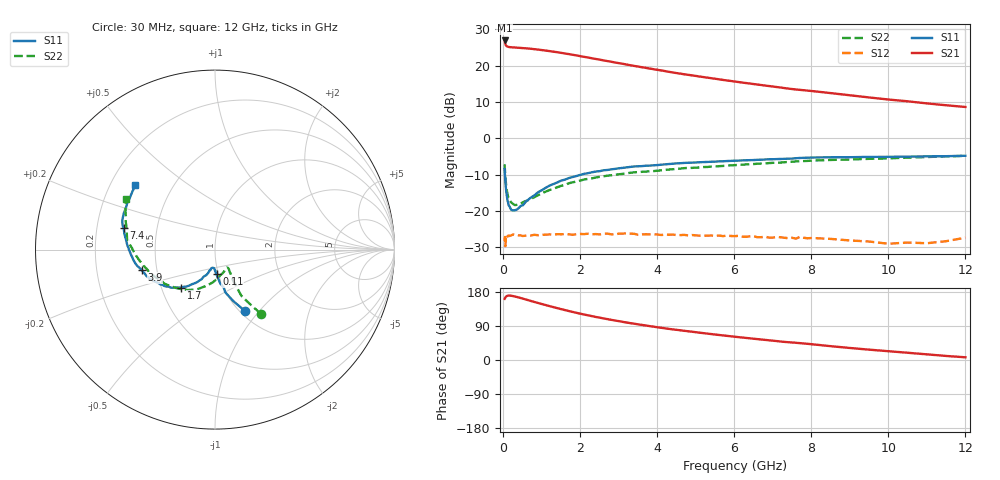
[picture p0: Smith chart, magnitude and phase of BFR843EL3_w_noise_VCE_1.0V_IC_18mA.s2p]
! Infineon Technologies  Discrete & RF Semiconductors
! BFR843EL3
! VCE =  1.0 V,  IC =  18 mA
! Common Emitter S-Parameters:  Aug 2013
# GHz  S  MA  R  50
!  f  S11  S21  S12  S22
! GHz  MAG  ANG  MAG  ANG  MAG  ANG  MAG  ANG
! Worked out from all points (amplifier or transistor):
!   103 points, 30 MHz to 12 GHz, reference 50 ohm
!   highest |S21| = 26.9 dB at 30 MHz (marker M1)
!   |S21| within 3 dB of that: start of sweep to 1.243 GHz
!   unconditionally stable (mu >= 1): 4.476 GHz to end of sweep
!   at 400 MHz: K = 0.99, MSG = 25.8 dB, |S12| = -26.7 dB
!   at 3.7 GHz: K = 0.94, MSG = 22.9 dB, |S12| = -26.4 dB
!   at 12 GHz: K = 2.09, MAG = 12.0 dB, |S12| = -27.4 dB
!   lowest NFmin = 1.06 dB at 450 MHz
!   S11 on the Smith chart (normalised r, x): 30 MHz: 1.05, -0.84; 110 MHz: 0.98, -0.27; 1.7 GHz: 0.63, -0.29; 3.9 GHz: 0.41, -0.11; 7.4 GHz: 0.32, +0.11; 12 GHz: 0.30, +0.33
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0.03  0.3788 -64.1  22.1 161.4  0.0387 26.4  0.4387 -54.5
0.04  0.3048 -70.4  20.59 163.1  0.0439 22.7  0.353 -57.6
0.06  0.2175 -77.0  19.07 166.3  0.0405 21.2  0.2564 -60.1
0.08  0.1735 -82.5  18.51 168.2  0.0446 12.2  0.2053 -59.9
0.11  0.1364 -86.4  18.14 169.5  0.0454 9.4  0.1661 -58.3
0.15  0.1174 -89.2  17.94 170.0  0.0452 4.5  0.1433 -55.9
0.25  0.1019 -96.0  17.75 168.6  0.0476 4.3  0.1246 -54.6
0.6  0.137 -106.5  17.21 159.2  0.046 2.8  0.1381 -71.7
1.1  0.2086 -119.0  16.04 144.9  0.0472 2.2  0.1847 -94.6
1.4  0.247 -125.6  15.22 136.8  0.0479 2.4  0.2121 -105.2
1.7  0.2837 -131.7  14.34 129.2  0.0478 1.8  0.2404 -113.7
2.1  0.3243 -139.1  13.14 119.9  0.0481 2.2  0.2711 -123.8
2.6  0.3624 -147.8  11.76 109.7  0.0486 1.2  0.2997 -133.9
3  0.3862 -153.5  10.76 102.4  0.0489 1.2  0.3192 -140.3
3.9  0.424 -164.4  8.895 88.0  0.0477 0.2  0.3535 -152.7
4.1  0.4327 -166.4  8.546 85.0  0.0467 1.3  0.3622 -154.1
5.1  0.4675 -176.1  7.048 72.0  0.0458 0.3  0.3968 -164.7
6.1  0.4927 175.9  5.929 60.4  0.0454 0.9  0.43 -173.0
7.4  0.5236 166.7  4.818 46.9  0.0422 2.2  0.4719 177.3
8.5  0.547 158.1  4.174 36.5  0.0413 3.9  0.5029 168.7
10.5  0.5588 146.8  3.22 19.1  0.0368 16.1  0.5407 157.3
12  0.5736 141.0  2.689 7.1  0.0429 28.4  0.5727 150.5
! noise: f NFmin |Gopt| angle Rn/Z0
0.45  1.06  0.07  132  0.13
0.9  1.06  0.08  131  0.12
1.5  1.08  0.09  133  0.11
1.9  1.08  0.1  136  0.1
2.4  1.09  0.11  142  0.11
3.5  1.11  0.13  151  0.1
5.5  1.14  0.2  171  0.1
8  1.18  0.31  194  0.08
10  1.21  0.44  219  0.07
